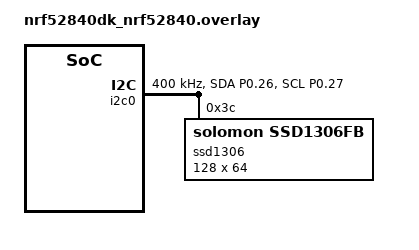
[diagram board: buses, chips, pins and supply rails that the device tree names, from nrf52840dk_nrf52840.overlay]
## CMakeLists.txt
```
cmake_minimum_required(VERSION 3.20.0)

find_package(Zephyr REQUIRED HINTS $ENV{ZEPHYR_BASE})
project(oled_128x64)

FILE(GLOB app_sources src/*.c)
target_sources(app PRIVATE src/main.c)
```

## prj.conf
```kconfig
CONFIG_LV_Z_MEM_POOL_SIZE=16384
CONFIG_LV_Z_SHELL=y
CONFIG_MAIN_STACK_SIZE=2048

CONFIG_I2C=y

CONFIG_DISPLAY=y
CONFIG_DISPLAY_LOG_LEVEL_DBG=y

CONFIG_SSD1306=y

CONFIG_LOG=y
CONFIG_SHELL=y

CONFIG_LVGL=y
CONFIG_LV_MEM_CUSTOM=y
CONFIG_LV_USE_LOG=y
CONFIG_LV_USE_LABEL=y
CONFIG_LV_USE_BTN=y
CONFIG_LV_USE_ARC=y
CONFIG_LV_USE_IMG=y
CONFIG_LV_USE_MONKEY=y
CONFIG_LV_FONT_MONTSERRAT_14=y
```

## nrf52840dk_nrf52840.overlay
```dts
// To get started, press Ctrl+Space to bring up the completion menu and view the available nodes.

// You can also use the buttons in the sidebar to perform actions on nodes.
// Actions currently available include:

// * Enabling / disabling the node
// * Adding the bus to a bus
// * Removing the node
// * Connecting ADC channels

// For more help, browse the DeviceTree documentation at https: //docs.zephyrproject.org/latest/guides/dts/index.html
// You can also visit the nRF DeviceTree extension documentation at https: //nrfconnect.github.io/vscode-nrf-connect/devicetree/nrfdevicetree.html

/ {
    chosen {
        zephyr,display = &ssd1306;
    };
};

&pinctrl {
    i2c0_default: i2c0_default {
        group1 {
            psels = <NRF_PSEL(TWIM_SDA, 0, 26)>, // GPIO P0.26
            <NRF_PSEL(TWIM_SCL, 0, 27)>;     // GPIO P0.27
        };
    };

    i2c0_sleep: i2c0_sleep {
        group1 {
            psels = <NRF_PSEL(TWIM_SDA, 0, 26)>, // GPIO P0.26
            <NRF_PSEL(TWIM_SCL, 0, 27)>;     // GPIO P0.27
        };
    };
};

&i2c0 {
    compatible = "nordic,nrf-twim";
    status = "okay";
    pinctrl-0 = <&i2c0_default>;
    pinctrl-1 = <&i2c0_sleep>;
    pinctrl-names = "default", "sleep";
    clock-frequency = <I2C_BITRATE_FAST>;
    zephyr,concat-buf-size = <4096>;

    ssd1306: ssd1306@3c {
        compatible = "solomon,ssd1306fb";
        reg = <0x3c>;
        height = <64>;
        width = <128>;
        segment-offset = <0>;
        page-offset = <0>;
        display-offset = <0>;
        multiplex-ratio = <63>;
        prechargep = <0x22>;
        com-invdir;
        segment-remap;
    };
};
```

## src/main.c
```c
#include <lvgl.h>
#include <lvgl_input_device.h>
#include <stdint.h>
#include <string.h>
#include <zephyr/device.h>
#include <zephyr/devicetree.h>
#include <zephyr/drivers/display.h>
#include <zephyr/drivers/gpio.h>
#include <zephyr/kernel.h>
#include <zephyr/logging/log.h>

#include "logo_image.h"

#define BASIC_TEST

#define DISPLAY_BUFFER_PITCH 128

LOG_MODULE_REGISTER(display);

#ifdef BASIC_TEST
static uint32_t count;

static const struct device *display = DEVICE_DT_GET(DT_CHOSEN(zephyr_display));

static struct gpio_dt_spec btn0_gpio = GPIO_DT_SPEC_GET_OR(DT_ALIAS(sw0), gpios, {0});
static struct gpio_callback btn0_callback;

static void btn01_isr_callback(const struct device *port, struct gpio_callback *cb, uint32_t pins)
{
    ARG_UNUSED(port);
    ARG_UNUSED(cb);
    ARG_UNUSED(pins);

    count = 0;
}

static void lv_btn_click_callback(lv_event_t *e)
{
    ARG_UNUSED(e);

    count = 0;
}

int main(void)
{
    if (display == NULL)
    {
        LOG_ERR("device pointer is NULL");
        return 0;
    }

    if (!device_is_ready(display))
    {
        LOG_ERR("display device is not ready");
        return 0;
    }

    if (gpio_is_ready_dt(&btn0_gpio))
    {
        int err;

        err = gpio_pin_configure_dt(&btn0_gpio, GPIO_INPUT);
        if (err)
        {
            LOG_ERR("failed to configure button gpio: %d", err);
            return 0;
        }

        gpio_init_callback(&btn0_callback, btn01_isr_callback, BIT(btn0_gpio.pin));

        err = gpio_add_callback(btn0_gpio.port, &btn0_callback);
        if (err)
        {
            LOG_ERR("failed to add button callback: %d", err);
            return 0;
        }

        err = gpio_pin_interrupt_configure_dt(&btn0_gpio, GPIO_INT_EDGE_TO_ACTIVE);
        if (err)
        {
            LOG_ERR("failed to enable button callback: %d", err);
            return 0;
        }
    }

    struct display_capabilities capabilities;
    display_get_capabilities(display, &capabilities);

    const uint16_t x_res = capabilities.x_resolution;
    const uint16_t y_res = capabilities.y_resolution;

    LOG_INF("x_resolution: %d", x_res);
    LOG_INF("y_resolution: %d", y_res);
    LOG_INF("supported pixel formats: %d", capabilities.supported_pixel_formats);
    LOG_INF("screen_info: %d", capabilities.screen_info);
    LOG_INF("current_pixel_format: %d", capabilities.current_pixel_format);
    LOG_INF("current_orientation: %d", capabilities.current_orientation);

    display_blanking_off(display);

    const struct display_buffer_descriptor buf_desc = {
        .width = x_res, .height = y_res, .buf_size = x_res * y_res, .pitch = DISPLAY_BUFFER_PITCH};

    if (display_write(display, 0, 0, &buf_desc, logo_buf) != 0)
    {
        LOG_ERR("could not write to display");
    }

    if (display_set_contrast(display, 0) != 0)
    {
        LOG_ERR("could not set display contrast");
    }

    const size_t ms_sleep = 5;

    // Increase brightness
    for (size_t i = 0; i < 255; i++)
    {
        display_set_contrast(display, i);
        k_sleep(K_MSEC(ms_sleep));
    }

    // Decrease brightness
    for (size_t i = 255; i > 0; i--)
    {
        display_set_contrast(display, i);
        k_sleep(K_MSEC(ms_sleep));
    }

    display_blanking_on(display);

    char count_str[11] = {0};
    lv_obj_t *hello_world_label;
    lv_obj_t *count_label;

    if (IS_ENABLED(CONFIG_LV_Z_POINTER_INPUT))
    {
        lv_obj_t *hello_world_button;

        hello_world_button = lv_btn_create(lv_scr_act());
        lv_obj_align(hello_world_button, LV_ALIGN_CENTER, 0, -15);
        lv_obj_add_event_cb(hello_world_button, lv_btn_click_callback, LV_EVENT_CLICKED, NULL);
        hello_world_label = lv_label_create(hello_world_button);
    }
    else
    {
        hello_world_label = lv_label_create(lv_scr_act());
    }

    lv_label_set_text(hello_world_label, "Hello world!");
    lv_obj_align(hello_world_label, LV_ALIGN_CENTER, 0, 0);

    count_label = lv_label_create(lv_scr_act());
    lv_obj_align(count_label, LV_ALIGN_BOTTOM_MID, 0, 0);

    lv_task_handler();
    display_blanking_off(display);

    while (true)
    {
        if ((count % 100) == 0U)
        {
            sprintf(count_str, "%d", count / 100U);
            lv_label_set_text(count_label, count_str);
        }
        lv_task_handler();
        ++count;
        k_sleep(K_MSEC(10));
    }
}

#else

#endif
```
